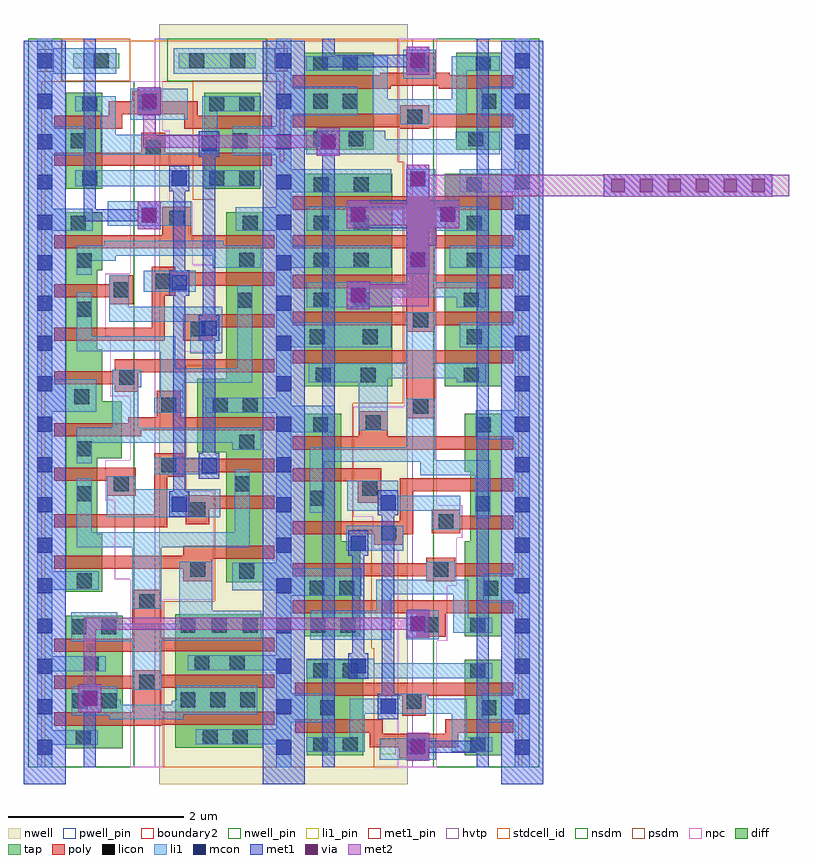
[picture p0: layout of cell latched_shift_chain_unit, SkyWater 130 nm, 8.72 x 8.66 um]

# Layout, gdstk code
from math import pi, radians
import gdstk
lib = gdstk.Library(unit=1e-6, precision=1e-09)
def R(c, l, rs):  # rectangles x0, y0, x1, y1
    for r in rs: c.add(gdstk.rectangle(r[:2], r[2:], *l))
def A(c, l, x, y, w, h, nx, ny, dx, dy):  # array of equal rectangles
    R(c, l, [(x+i*dx, y+j*dy, x+i*dx+w, y+j*dy+h) for i in range(nx) for j in range(ny)])
def P(c, l, *ps):  # polygons
    for p in ps: c.add(gdstk.Polygon(p, *l))
nwell_pin = (64, 16)
nwell = (64, 20)
diff = (65, 20)
tap = (65, 44)
poly = (66, 20)
licon = (66, 44)
li1_pin = (67, 16)
li1 = (67, 20)
mcon = (67, 44)
met1_pin = (68, 16)
met1 = (68, 20)
via = (68, 44)
met2 = (69, 20)
hvtp = (78, 44)
stdcell_id = (81, 4)
nsdm = (93, 44)
psdm = (94, 20)
npc = (95, 20)
pwell_pin = (122, 16)
boundary2 = (236, 0)

sky130_fd_sc_hd__clkbuf_ = lib.new_cell('sky130_fd_sc_hd__clkbuf_1')
R(sky130_fd_sc_hd__clkbuf_, nwell_pin, [(1.065,2.635,1.235,2.805)])
R(sky130_fd_sc_hd__clkbuf_, nwell, [(-0.19,1.305,1.57,2.91)])
R(sky130_fd_sc_hd__clkbuf_, diff, [(0.135,0.235,1.245,0.755), (0.135,1.695,1.245,2.485)])
P(sky130_fd_sc_hd__clkbuf_, poly, [(0.835,0.105),(0.835,0.95),(0.865,0.95),(0.865,1.5),(0.835,1.5),(0.835,2.615),(0.985,2.615),(0.985,1.62),(1.015,1.62),(1.015,1.325),(1.245,1.325),(1.245,0.995),(1.015,0.995),(1.015,0.83),(0.985,0.83),(0.985,0.105)],
  [(0.395,0.105),(0.395,1.06),(0.375,1.06),(0.375,1.39),(0.395,1.39),(0.395,2.615),(0.545,2.615),(0.545,1.39),(0.645,1.39),(0.645,1.06),(0.545,1.06),(0.545,0.105)])
A(sky130_fd_sc_hd__clkbuf_, licon, 0.175, 2.215, 0.17, 0.17, 3, 1, 0.43, 0)
R(sky130_fd_sc_hd__clkbuf_, licon, [(0.605,0.295,0.775,0.465), (1.035,0.36,1.205,0.53), (0.175,0.445,0.345,0.615), (1.025,1.075,1.195,1.245), (0.425,1.14,0.595,1.31), (0.175,1.81,0.345,1.98), (0.605,1.875,0.775,2.045), (1.035,1.875,1.205,2.045)])
R(sky130_fd_sc_hd__clkbuf_, li1_pin, [(0.145,0.425,0.315,0.595), (1.065,1.105,1.235,1.275), (0.145,1.785,0.315,1.955), (0.145,2.125,0.315,2.295)])
R(sky130_fd_sc_hd__clkbuf_, li1, [(0.945,0.985,1.275,1.355)])
P(sky130_fd_sc_hd__clkbuf_, li1, [(0.525,1.875),(0.525,2.635),(0,2.635),(0,2.805),(1.38,2.805),(1.38,2.635),(0.855,2.635),(0.855,1.875)],
  [(1.035,0.255),(1.035,0.635),(0.54,0.635),(0.54,1.06),(0.425,1.06),(0.425,1.39),(0.54,1.39),(0.54,1.705),(1.035,1.705),(1.035,2.465),(1.205,2.465),(1.205,1.535),(0.71,1.535),(0.71,0.805),(1.205,0.805),(1.205,0.255)],
  [(0,-0.085),(0,0.085),(0.525,0.085),(0.525,0.465),(0.855,0.465),(0.855,0.085),(1.38,0.085),(1.38,-0.085)],
  [(0.085,0.255),(0.085,2.465),(0.355,2.465),(0.355,1.56),(0.255,1.56),(0.255,0.76),(0.345,0.76),(0.345,0.255)])
A(sky130_fd_sc_hd__clkbuf_, mcon, 0.145, -0.085, 0.17, 0.17, 3, 2, 0.46, 2.72)
R(sky130_fd_sc_hd__clkbuf_, met1_pin, [(1.065,-0.085,1.235,0.085), (1.065,2.635,1.235,2.805)])
R(sky130_fd_sc_hd__clkbuf_, hvtp, [(0,1.25,1.38,2.72)])
R(sky130_fd_sc_hd__clkbuf_, stdcell_id, [(0,0,1.38,2.72)])
R(sky130_fd_sc_hd__clkbuf_, nsdm, [(0,-0.19,1.38,1.015)])
R(sky130_fd_sc_hd__clkbuf_, psdm, [(0,1.42,1.38,2.91)])
R(sky130_fd_sc_hd__clkbuf_, npc, [(0,0.975,1.38,1.41)])
R(sky130_fd_sc_hd__clkbuf_, pwell_pin, [(1.065,-0.085,1.235,0.085)])
R(sky130_fd_sc_hd__clkbuf_, boundary2, [(0,0,1.38,2.72)])
sky130_fd_sc_hd__clkbuf_.add(gdstk.FlexPath([(1.38,0),(0,0)], 0.48, ends="flush", simple_path=True, layer=68, datatype=20))  # met1
sky130_fd_sc_hd__clkbuf_.add(gdstk.FlexPath([(1.38,2.72),(0,2.72)], 0.48, ends="flush", simple_path=True, layer=68, datatype=20))  # met1
sky130_fd_sc_hd__clkbuf_.add(gdstk.Label('A', (1.15,1.19), layer=67, texttype=5))
sky130_fd_sc_hd__clkbuf_.add(gdstk.Label('X', (0.23,0.51), layer=67, texttype=5))
sky130_fd_sc_hd__clkbuf_.add(gdstk.Label('X', (0.23,1.87), layer=67, texttype=5))
sky130_fd_sc_hd__clkbuf_.add(gdstk.Label('X', (0.23,2.21), layer=67, texttype=5))
sky130_fd_sc_hd__clkbuf_.add(gdstk.Label('VNB', (1.15,0), layer=64, texttype=59))
sky130_fd_sc_hd__clkbuf_.add(gdstk.Label('VPB', (1.15,2.72), layer=64, texttype=5))
sky130_fd_sc_hd__clkbuf_.add(gdstk.Label('VPWR', (1.15,2.72), layer=68, texttype=5))
sky130_fd_sc_hd__clkbuf_.add(gdstk.Label('VGND', (1.15,0), layer=68, texttype=5))
sky130_fd_sc_hd__clkbuf_.add(gdstk.Label('clkbuf_1', (0,0), layer=83, texttype=44))

sky130_fd_sc_hd__tapvpwr = lib.new_cell('sky130_fd_sc_hd__tapvpwrvgnd_1')
R(sky130_fd_sc_hd__tapvpwr, nwell, [(-0.19,1.305,0.65,2.91)])
R(sky130_fd_sc_hd__tapvpwr, tap, [(0.145,0.32,0.315,0.845), (0.145,1.525,0.315,2.4)])
R(sky130_fd_sc_hd__tapvpwr, licon, [(0.145,0.555,0.315,0.725), (0.145,1.645,0.315,1.815), (0.145,2.11,0.315,2.28)])
R(sky130_fd_sc_hd__tapvpwr, li1, [(0,-0.085,0.46,0.085), (0.085,0,0.375,0.81), (0.085,1.47,0.375,2.72), (0,2.635,0.46,2.805)])
R(sky130_fd_sc_hd__tapvpwr, mcon, [(0.145,-0.085,0.315,0.085), (0.145,2.635,0.315,2.805)])
R(sky130_fd_sc_hd__tapvpwr, met1_pin, [(0.105,-0.09,0.36,0.1), (0.11,2.62,0.375,2.765)])
R(sky130_fd_sc_hd__tapvpwr, met1, [(0,-0.24,0.46,0.24), (0,2.48,0.46,2.96)])
R(sky130_fd_sc_hd__tapvpwr, hvtp, [(0,1.25,0.46,2.72)])
R(sky130_fd_sc_hd__tapvpwr, stdcell_id, [(0,0,0.46,2.72)])
R(sky130_fd_sc_hd__tapvpwr, nsdm, [(0,-0.19,0.46,0.19), (0,1.395,0.46,2.53)])
R(sky130_fd_sc_hd__tapvpwr, psdm, [(0,0.19,0.46,0.975), (0,2.53,0.46,2.91)])
sky130_fd_sc_hd__tapvpwr.add(gdstk.Label('VGND', (0.23,0), layer=68, texttype=5))
sky130_fd_sc_hd__tapvpwr.add(gdstk.Label('VPWR', (0.23,2.72), layer=68, texttype=5))
sky130_fd_sc_hd__tapvpwr.add(gdstk.Label('tapvpwrvgnd_1', (0,0), layer=83, texttype=44))

sky130_fd_sc_hd__dfxtp_2 = lib.new_cell('sky130_fd_sc_hd__dfxtp_2$1')
R(sky130_fd_sc_hd__dfxtp_2, nwell_pin, [(6.035,-1.855,6.205,-1.685), (6.035,-1.855,6.205,-1.685)])
R(sky130_fd_sc_hd__dfxtp_2, nwell, [(-1.66,-1.96,6.54,-0.355)])
R(sky130_fd_sc_hd__dfxtp_2, diff, [(-1.245,-1.535,0.275,-0.535), (5.125,-1.505,6.215,-0.865), (-1.255,0.065,0.255,0.715), (5.125,0.295,6.215,0.715)])
P(sky130_fd_sc_hd__dfxtp_2, diff, [(2.05,0.075),(2.05,0.355),(1.19,0.355),(1.19,0.295),(0.53,0.295),(0.53,0.715),(4.855,0.715),(4.855,0.295),(4.195,0.295),(4.195,0.355),(3.295,0.355),(3.295,0.295),(2.7,0.295),(2.7,0.075)],
  [(0.64,-1.535),(0.64,-1.115),(2.12,-1.115),(2.12,-0.785),(2.955,-0.785),(2.955,-1.115),(4.855,-1.115),(4.855,-1.535)])
P(sky130_fd_sc_hd__dfxtp_2, poly, [(-0.985,-1.665),(-0.985,-0.375),(-0.995,-0.375),(-0.995,0.845),(-0.845,0.845),(-0.845,-0.045),(-0.575,-0.045),(-0.575,0.845),(-0.425,0.845),(-0.425,-0.045),(-0.365,-0.045),(-0.365,-0.375),(-0.415,-0.375),(-0.415,-1.665),(-0.565,-1.665),(-0.565,-0.375),(-0.835,-0.375),(-0.835,-1.665)],
  [(5.805,-1.635),(5.805,-0.64),(5.97,-0.64),(5.97,0.07),(5.805,0.07),(5.805,0.845),(5.955,0.845),(5.955,0.22),(6.12,0.22),(6.12,-0.045),(6.24,-0.045),(6.24,-0.375),(6.12,-0.375),(6.12,-0.79),(5.955,-0.79),(5.955,-1.635)],
  [(1.625,-0.085),(1.625,0.245),(1.795,0.245),(1.795,0.845),(1.945,0.845),(1.945,-0.085)],
  [(-0.145,-1.665),(-0.145,-0.375),(-0.155,-0.375),(-0.155,0.845),(-0.005,0.845),(-0.005,-0.045),(0.555,-0.045),(0.555,-0.375),(0.005,-0.375),(0.005,-1.665)],
  [(3.545,-1.665),(3.545,-0.955),(3.39,-0.955),(3.39,-0.625),(3.695,-0.625),(3.695,-1.665)],
  [(5.385,-1.635),(5.385,0.845),(5.535,0.845),(5.535,-0.15),(5.76,-0.15),(5.76,-0.42),(5.535,-0.42),(5.535,-1.635)],
  [(4.445,-1.665),(4.445,0.845),(4.595,0.845),(4.595,-0.385),(4.92,-0.385),(4.92,-0.715),(4.595,-0.715),(4.595,-1.665)],
  [(0.905,-1.665),(0.905,-0.955),(0.65,-0.955),(0.65,-0.625),(0.79,-0.625),(0.79,0.845),(0.94,0.845),(0.94,-0.625),(1.055,-0.625),(1.055,-1.665)],
  [(3.805,-0.055),(3.805,0.215),(3.885,0.215),(3.885,0.845),(4.035,0.845),(4.035,0.215),(4.135,0.215),(4.135,-0.055)],
  [(4.02,-1.665),(4.02,-0.535),(3.905,-0.535),(3.905,-0.415),(3.39,-0.415),(3.39,0.845),(3.54,0.845),(3.54,-0.265),(4.235,-0.265),(4.235,-0.535),(4.17,-0.535),(4.17,-1.665)],
  [(3.03,-1.665),(3.03,-0.115),(2.81,-0.115),(2.81,0.155),(2.895,0.155),(2.895,0.845),(3.045,0.845),(3.045,0.155),(3.18,0.155),(3.18,-1.665)],
  [(2.37,-1.665),(2.37,-0.15),(2.3,-0.15),(2.3,0.845),(2.45,0.845),(2.45,0),(2.52,0),(2.52,-0.325),(2.82,-0.325),(2.82,-0.595),(2.52,-0.595),(2.52,-1.665)],
  [(1.895,-1.665),(1.895,-0.625),(1.84,-0.625),(1.84,-0.445),(1.265,-0.445),(1.265,0.845),(1.415,0.845),(1.415,-0.295),(2.11,-0.295),(2.11,-0.625),(2.045,-0.625),(2.045,-1.665)],
  [(1.475,-1.665),(1.475,-0.925),(1.3,-0.925),(1.3,-0.655),(1.63,-0.655),(1.63,-0.925),(1.625,-0.925),(1.625,-1.665)])
A(sky130_fd_sc_hd__dfxtp_2, licon, 0.065, -1.475, 0.17, 0.17, 1, 3, 0, 0.355)
A(sky130_fd_sc_hd__dfxtp_2, licon, -0.785, -1.445, 0.17, 0.17, 1, 3, 0, 0.34)
R(sky130_fd_sc_hd__dfxtp_2, licon, [(2.57,-1.475,2.74,-1.305), (4.645,-1.475,4.815,-1.305), (0.68,-1.435,0.85,-1.265), (2.15,-1.435,2.32,-1.265), (4.225,-1.435,4.395,-1.265), (5.165,-1.435,5.335,-1.265), (6.005,-1.435,6.175,-1.265), (3.765,-1.41,3.935,-1.24), (1.675,-1.385,1.845,-1.215), (-1.205,-1.36,-1.035,-1.19), (5.585,-1.355,5.755,-1.185), (-0.365,-1.325,-0.195,-1.155), (2.57,-1.135,2.74,-0.965), (5.165,-1.095,5.335,-0.925), (6.005,-1.095,6.175,-0.925), (-1.205,-1.02,-1.035,-0.85), (-0.365,-0.925,-0.195,-0.755), (0.7,-0.875,0.87,-0.705), (1.38,-0.875,1.55,-0.705), (3.44,-0.875,3.61,-0.705), (4.7,-0.635,4.87,-0.465), (1.89,-0.545,2.06,-0.375), (2.57,-0.545,2.74,-0.375), (3.985,-0.485,4.155,-0.315), (5.51,-0.37,5.68,-0.2), (-0.585,-0.295,-0.415,-0.125), (0.335,-0.295,0.505,-0.125), (6.02,-0.295,6.19,-0.125), (2.89,-0.065,3.06,0.105), (1.675,-0.005,1.845,0.165), (3.885,-0.005,4.055,0.165), (-0.795,0.13,-0.625,0.3), (0.045,0.14,0.215,0.31), (-0.375,0.335,-0.205,0.505), (5.165,0.355,5.335,0.525), (6.005,0.355,6.175,0.525), (0.57,0.415,0.74,0.585), (1.56,0.415,1.73,0.585), (2.075,0.415,2.245,0.585), (3.665,0.415,3.835,0.585), (4.22,0.415,4.39,0.585), (-1.215,0.43,-1.045,0.6), (2.67,0.445,2.84,0.615), (-0.795,0.47,-0.625,0.64), (0.045,0.48,0.215,0.65), (4.645,0.485,4.815,0.655), (5.585,0.485,5.755,0.655)])
R(sky130_fd_sc_hd__dfxtp_2, li1_pin, [(4.735,-0.325,4.905,-0.155), (6.035,-0.325,6.205,-0.155), (-0.77,0.355,-0.6,0.525)])
R(sky130_fd_sc_hd__dfxtp_2, li1, [(5.15,-1.515,5.335,0.605), (1.87,-1.015,2.06,-0.295), (3.95,-0.77,4.19,-0.175), (4.7,-0.715,4.98,0.235), (5.91,-0.675,6.26,-0.025)])
P(sky130_fd_sc_hd__dfxtp_2, li1, [(-0.375,0.255),(-0.375,0.865),(-1.045,0.865),(-1.045,0.35),(-1.215,0.35),(-1.215,0.865),(-1.47,0.865),(-1.47,1.035),(6.35,1.035),(6.35,0.865),(5.835,0.865),(5.835,0.485),(5.505,0.485),(5.505,0.865),(4.895,0.865),(4.895,0.405),(4.645,0.405),(4.645,0.865),(2.95,0.865),(2.95,0.365),(2.58,0.365),(2.58,0.865),(0.765,0.865),(0.765,0.335),(0.555,0.335),(0.555,0.865),(-0.205,0.865),(-0.205,0.255)],
  [(-1.47,-1.855),(-1.47,-1.685),(-1.205,-1.685),(-1.205,-0.77),(-1.035,-0.77),(-1.035,-1.685),(-0.365,-1.685),(-0.365,-0.675),(-0.195,-0.675),(-0.195,-1.685),(0.545,-1.685),(0.545,-1.185),(0.86,-1.185),(0.86,-1.685),(2.57,-1.685),(2.57,-0.885),(2.74,-0.885),(2.74,-1.685),(4.645,-1.685),(4.645,-1.225),(4.91,-1.225),(4.91,-1.685),(5.505,-1.685),(5.505,-1.185),(5.835,-1.185),(5.835,-1.685),(6.35,-1.685),(6.35,-1.855)],
  [(-0.025,-1.515),(-0.025,-0.375),(-0.585,-0.375),(-0.585,-0.045),(-0.035,-0.045),(-0.035,0.65),(0.295,0.65),(0.295,0.125),(0.165,0.125),(0.165,-0.58),(0.87,-0.58),(0.87,-0.955),(0.315,-0.955),(0.315,-1.515)],
  [(-0.865,-1.47),(-0.865,-0.625),(-0.925,-0.625),(-0.925,0.21),(-0.875,0.21),(-0.875,0.645),(-0.545,0.645),(-0.545,0.125),(-0.7,0.125),(-0.7,0.085),(-0.755,0.085),(-0.755,-0.495),(-0.71,-0.495),(-0.71,-0.545),(-0.535,-0.545),(-0.535,-1.47)],
  [(1.04,-1.385),(1.04,-0.375),(0.335,-0.375),(0.335,-0.045),(1.04,-0.045),(1.04,0.585),(1.825,0.585),(1.825,0.415),(1.21,0.415),(1.21,-1.215),(1.925,-1.215),(1.925,-1.385)],
  [(1.38,-1.045),(1.38,0.245),(1.845,0.245),(1.845,-0.085),(1.7,-0.085),(1.7,-1.045)],
  [(3.25,-1.07),(3.25,-0.705),(3.61,-0.705),(3.61,0.215),(4.135,0.215),(4.135,-0.005),(3.78,-0.005),(3.78,-1.07)],
  [(4.225,-1.515),(4.225,-0.96),(4.36,-0.96),(4.36,0.145),(4.305,0.145),(4.305,0.415),(4.14,0.415),(4.14,0.585),(4.475,0.585),(4.475,0.275),(4.53,0.275),(4.53,-1.09),(4.475,-1.09),(4.475,-1.515)],
  [(2.15,-1.515),(2.15,-1.185),(2.23,-1.185),(2.23,0.415),(1.995,0.415),(1.995,0.585),(2.4,0.585),(2.4,0.185),(3.06,0.185),(3.06,-0.145),(2.86,-0.145),(2.86,-0.115),(2.4,-0.115),(2.4,-1.515)],
  [(2.91,-1.41),(2.91,-0.625),(2.57,-0.625),(2.57,-0.295),(2.74,-0.295),(2.74,-0.365),(3.27,-0.365),(3.27,0.585),(3.945,0.585),(3.945,0.415),(3.44,0.415),(3.44,-0.535),(3.08,-0.535),(3.08,-1.24),(4.015,-1.24),(4.015,-1.41)],
  [(6.005,-1.515),(6.005,-1.015),(5.51,-1.015),(5.51,0.315),(6.005,0.315),(6.005,0.605),(6.175,0.605),(6.175,0.145),(5.74,0.145),(5.74,-0.845),(6.175,-0.845),(6.175,-1.515)])
A(sky130_fd_sc_hd__dfxtp_2, mcon, -1.325, -1.855, 0.17, 0.17, 17, 2, 0.46, 2.72)
R(sky130_fd_sc_hd__dfxtp_2, mcon, [(1.88,-1.005,2.05,-0.835), (3.45,-1.005,3.62,-0.835), (5.55,-1.005,5.72,-0.835), (1.445,-0.665,1.615,-0.495), (3.965,-0.665,4.135,-0.495), (5.155,-0.665,5.325,-0.495)])
R(sky130_fd_sc_hd__dfxtp_2, met1_pin, [(6.035,-1.855,6.205,-1.685), (6.035,0.865,6.205,1.035)])
R(sky130_fd_sc_hd__dfxtp_2, met1, [(-1.47,-2.01,6.35,-1.53), (-1.47,0.71,6.35,1.19)])
P(sky130_fd_sc_hd__dfxtp_2, met1, [(1.82,-1.035),(1.82,-0.805),(2.11,-0.805),(2.11,-0.85),(3.39,-0.85),(3.39,-0.805),(3.68,-0.805),(3.68,-0.85),(5.49,-0.85),(5.49,-0.805),(5.78,-0.805),(5.78,-1.035),(5.49,-1.035),(5.49,-0.99),(3.68,-0.99),(3.68,-1.035),(3.39,-1.035),(3.39,-0.99),(2.11,-0.99),(2.11,-1.035)],
  [(1.385,-0.695),(1.385,-0.465),(1.675,-0.465),(1.675,-0.51),(3.905,-0.51),(3.905,-0.465),(4.195,-0.465),(4.195,-0.51),(5.095,-0.51),(5.095,-0.465),(5.385,-0.465),(5.385,-0.695),(5.095,-0.695),(5.095,-0.65),(4.195,-0.65),(4.195,-0.695),(3.905,-0.695),(3.905,-0.65),(1.675,-0.65),(1.675,-0.695)])
R(sky130_fd_sc_hd__dfxtp_2, hvtp, [(-1.47,-1.77,6.35,-0.3)])
R(sky130_fd_sc_hd__dfxtp_2, stdcell_id, [(-1.47,-1.77,6.35,0.95)])
R(sky130_fd_sc_hd__dfxtp_2, nsdm, [(-1.47,-0.065,6.35,1.14)])
P(sky130_fd_sc_hd__dfxtp_2, psdm, [(-1.47,-1.96),(-1.47,-0.405),(0.42,-0.405),(0.42,-0.985),(1.685,-0.985),(1.685,-0.655),(3.11,-0.655),(3.11,-0.985),(5,-0.985),(5,-0.735),(6.35,-0.735),(6.35,-1.96)])
P(sky130_fd_sc_hd__dfxtp_2, npc, [(0.44,-0.975),(0.44,-0.395),(-1.47,-0.395),(-1.47,-0.025),(0.675,-0.025),(0.675,0.155),(1.575,0.155),(1.575,0.265),(2.03,0.265),(2.03,-0.025),(2.76,-0.025),(2.76,0.205),(3.445,0.205),(3.445,0.265),(4.155,0.265),(4.155,-0.025),(6.35,-0.025),(6.35,-0.395),(5.785,-0.395),(5.785,-0.47),(4.97,-0.47),(4.97,-0.735),(4.255,-0.735),(4.255,-0.975),(3.265,-0.975),(3.265,-0.645),(1.675,-0.645),(1.675,-0.975)])
R(sky130_fd_sc_hd__dfxtp_2, pwell_pin, [(6.035,0.865,6.205,1.035), (6.035,0.865,6.205,1.035)])
R(sky130_fd_sc_hd__dfxtp_2, boundary2, [(-1.47,-1.73,6.35,0.99)])
sky130_fd_sc_hd__dfxtp_2.add(gdstk.Label('D', (4.815,-0.24), layer=67, texttype=5))
sky130_fd_sc_hd__dfxtp_2.add(gdstk.Label('CLK', (6.12,-0.24), layer=67, texttype=5))
sky130_fd_sc_hd__dfxtp_2.add(gdstk.Label('Q', (-0.685,0.44), layer=67, texttype=5))
sky130_fd_sc_hd__dfxtp_2.add(gdstk.Label('VNB', (6.12,0.95), layer=64, texttype=59))
sky130_fd_sc_hd__dfxtp_2.add(gdstk.Label('VNB', (6.12,0.95), layer=64, texttype=59))
sky130_fd_sc_hd__dfxtp_2.add(gdstk.Label('VPB', (6.12,-1.77), layer=64, texttype=5))
sky130_fd_sc_hd__dfxtp_2.add(gdstk.Label('VPB', (6.12,-1.77), layer=64, texttype=5))
sky130_fd_sc_hd__dfxtp_2.add(gdstk.Label('VGND', (6.12,0.95), layer=68, texttype=5))
sky130_fd_sc_hd__dfxtp_2.add(gdstk.Label('VPWR', (6.12,-1.77), layer=68, texttype=5))
sky130_fd_sc_hd__dfxtp_2.add(gdstk.Label('dfxtp_2', (8.86,0.99), layer=83, texttype=44))

sky130_fd_sc_hd__dlxtn_4 = lib.new_cell('sky130_fd_sc_hd__dlxtn_4$1')
R(sky130_fd_sc_hd__dlxtn_4, nwell_pin, [(-1.455,2.58,-1.285,2.75)])
R(sky130_fd_sc_hd__dlxtn_4, nwell, [(-1.79,1.25,5.49,2.855)])
R(sky130_fd_sc_hd__dlxtn_4, diff, [(-1.465,0.18,-0.375,0.6), (2.745,0.18,5.165,0.83), (2.745,1.43,5.165,2.43), (-1.465,1.76,-0.375,2.4)])
P(sky130_fd_sc_hd__dlxtn_4, diff, [(-0.105,0.18),(-0.105,0.6),(0.975,0.6),(0.975,0.54),(1.77,0.54),(1.77,0.6),(2.43,0.6),(2.43,0.18)],
  [(-0.105,1.79),(-0.105,2.43),(2.43,2.43),(2.43,2.01),(0.975,2.01),(0.975,1.79)])
P(sky130_fd_sc_hd__dlxtn_4, poly, [(3.005,0.05),(3.005,0.94),(2.38,0.94),(2.38,1.27),(3.005,1.27),(3.005,2.56),(3.155,2.56),(3.155,0.05)],
  [(2.02,0.05),(2.02,2.56),(2.17,2.56),(2.17,1.81),(2.46,1.81),(2.46,1.48),(2.17,1.48),(2.17,0.05)],
  [(1.115,0.05),(1.115,0.65),(1.065,0.65),(1.065,0.98),(1.335,0.98),(1.335,0.65),(1.265,0.65),(1.265,0.05)],
  [(0.575,0.05),(0.575,0.71),(0.52,0.71),(0.52,1.04),(0.575,1.04),(0.575,2.56),(0.725,2.56),(0.725,1.04),(0.79,1.04),(0.79,0.71),(0.725,0.71),(0.725,0.05)],
  [(1.545,0.05),(1.545,1.19),(1.055,1.19),(1.055,1.3),(0.935,1.3),(0.935,1.63),(1.055,1.63),(1.055,2.56),(1.205,2.56),(1.205,1.34),(1.695,1.34),(1.695,0.05)],
  [(0.155,0.05),(0.155,0.82),(-0.11,0.82),(-0.11,1.15),(0.155,1.15),(0.155,2.56),(0.305,2.56),(0.305,0.05)],
  [(3.44,0.05),(3.44,0.94),(3.365,0.94),(3.365,1.27),(3.44,1.27),(3.44,2.56),(3.59,2.56),(3.59,1.27),(3.86,1.27),(3.86,2.56),(4.01,2.56),(4.01,1.27),(4.315,1.27),(4.315,2.56),(4.465,2.56),(4.465,1.27),(4.755,1.27),(4.755,2.56),(4.905,2.56),(4.905,0.05),(4.755,0.05),(4.755,0.94),(4.465,0.94),(4.465,0.05),(4.315,0.05),(4.315,0.94),(4.01,0.94),(4.01,0.05),(3.86,0.05),(3.86,0.94),(3.59,0.94),(3.59,0.05)],
  [(1.415,1.55),(1.415,1.82),(1.66,1.82),(1.66,2.56),(1.81,2.56),(1.81,1.55)],
  [(-0.785,0.05),(-0.785,1.045),(-1.01,1.045),(-1.01,1.315),(-0.785,1.315),(-0.785,2.53),(-0.635,2.53),(-0.635,0.05)],
  [(-1.205,0.05),(-1.205,0.675),(-1.37,0.675),(-1.37,1.015),(-1.495,1.015),(-1.495,1.345),(-1.37,1.345),(-1.37,1.685),(-1.205,1.685),(-1.205,2.53),(-1.055,2.53),(-1.055,1.535),(-1.22,1.535),(-1.22,0.825),(-1.055,0.825),(-1.055,0.05)])
R(sky130_fd_sc_hd__dlxtn_4, licon, [(0.355,0.22,0.525,0.39), (-1.005,0.24,-0.835,0.41), (2.22,0.305,2.39,0.475), (1.32,0.31,1.49,0.48), (-1.425,0.37,-1.255,0.54), (-0.585,0.37,-0.415,0.54), (-0.065,0.37,0.105,0.54), (3.22,0.41,3.39,0.58), (4.095,0.41,4.265,0.58), (4.515,0.41,4.685,0.58), (4.955,0.41,5.125,0.58), (2.785,0.44,2.955,0.61), (3.64,0.44,3.81,0.61), (1.115,0.73,1.285,0.9), (0.57,0.79,0.74,0.96), (-0.06,0.9,0.11,1.07), (2.43,1.02,2.6,1.19), (3.415,1.02,3.585,1.19), (-1.44,1.095,-1.27,1.265), (-0.93,1.095,-0.76,1.265), (0.985,1.38,1.155,1.55), (2.24,1.56,2.41,1.73), (3.22,1.595,3.39,1.765), (1.495,1.6,1.665,1.77), (2.785,1.615,2.955,1.785), (3.64,1.695,3.81,1.865), (4.095,1.695,4.265,1.865), (4.515,1.695,4.685,1.865), (4.955,1.695,5.125,1.865), (-1.425,1.82,-1.255,1.99), (-0.585,1.82,-0.415,1.99), (-0.065,1.85,0.105,2.02), (0.355,1.86,0.525,2.03), (-1.005,2.08,-0.835,2.25), (2.785,2.13,2.955,2.3), (3.64,2.15,3.81,2.32), (4.095,2.15,4.265,2.32), (4.515,2.15,4.685,2.32), (4.955,2.15,5.125,2.32), (-1.425,2.16,-1.255,2.33), (-0.585,2.16,-0.415,2.33), (2.22,2.16,2.39,2.33), (-0.065,2.19,0.105,2.36), (3.22,2.195,3.39,2.365), (0.355,2.2,0.525,2.37), (1.38,2.2,1.55,2.37)])
A(sky130_fd_sc_hd__dlxtn_4, li1_pin, 4.1, 1.05, 0.17, 0.17, 3, 1, 0.46, 0)
R(sky130_fd_sc_hd__dlxtn_4, li1_pin, [(3.695,0.37,3.865,0.54), (4.615,0.37,4.785,0.54), (4.615,0.71,4.785,0.88), (-1.45,1.05,-1.28,1.22), (-0.05,1.05,0.12,1.22), (-1.45,1.39,-1.28,1.56), (3.695,1.73,3.865,1.9), (4.615,1.73,4.785,1.9), (3.695,2.07,3.865,2.24), (4.615,2.07,4.785,2.24)])
R(sky130_fd_sc_hd__dlxtn_4, li1, [(-0.14,0.9,0.19,1.27), (-1.515,0.93,-1.27,1.57), (0.87,1.3,1.155,1.95)])
P(sky130_fd_sc_hd__dlxtn_4, li1, [(3.185,1.44),(3.185,2.58),(2.52,2.58),(2.52,2.08),(2.22,2.08),(2.22,2.58),(0.67,2.58),(0.67,1.78),(0.355,1.78),(0.355,2.58),(-0.755,2.58),(-0.755,2.08),(-1.085,2.08),(-1.085,2.58),(-1.6,2.58),(-1.6,2.75),(5.3,2.75),(5.3,2.58),(5.215,2.58),(5.215,1.44),(4.955,1.44),(4.955,2.58),(4.345,2.58),(4.345,1.44),(4.095,1.44),(4.095,2.58),(3.47,2.58),(3.47,1.44)],
  [(4.515,0.33),(4.515,0.94),(3.925,0.94),(3.925,0.36),(3.64,0.36),(3.64,0.69),(3.755,0.69),(3.755,1.44),(3.64,1.44),(3.64,2.4),(3.925,2.4),(3.925,1.27),(4.515,1.27),(4.515,2.4),(4.785,2.4),(4.785,1.27),(5.215,1.27),(5.215,0.94),(4.785,0.94),(4.785,0.33)],
  [(2.785,0.36),(2.785,0.69),(2.835,0.69),(2.835,1.48),(2.24,1.48),(2.24,1.81),(2.785,1.81),(2.785,2.38),(3.005,2.38),(3.005,1.27),(3.585,1.27),(3.585,0.94),(3.005,0.94),(3.005,0.36)],
  [(-1.6,-0.14),(-1.6,0.03),(-1.085,0.03),(-1.085,0.41),(-0.755,0.41),(-0.755,0.03),(0.275,0.03),(0.275,0.39),(0.605,0.39),(0.605,0.03),(2.14,0.03),(2.14,0.475),(2.47,0.475),(2.47,0.03),(3.185,0.03),(3.185,0.66),(3.47,0.66),(3.47,0.03),(4.095,0.03),(4.095,0.77),(4.345,0.77),(4.345,0.03),(4.955,0.03),(4.955,0.66),(5.215,0.66),(5.215,0.03),(5.3,0.03),(5.3,-0.14)],
  [(1.115,0.65),(1.115,0.98),(1.325,0.98),(1.325,1.94),(1.665,1.94),(1.665,1.36),(1.495,1.36),(1.495,0.65)],
  [(-0.065,0.29),(-0.065,0.73),(0.37,0.73),(0.37,1.44),(-0.145,1.44),(-0.145,2.36),(0.185,2.36),(0.185,1.61),(0.54,1.61),(0.54,1.04),(0.74,1.04),(0.74,0.71),(0.54,0.71),(0.54,0.56),(0.105,0.56),(0.105,0.29)],
  [(-0.585,0.29),(-0.585,2.41),(-0.36,2.41),(-0.36,1.63),(-0.415,1.63),(-0.415,0.29)],
  [(1.24,0.31),(1.24,0.48),(1.73,0.48),(1.73,1.11),(1.88,1.11),(1.88,2.2),(1.3,2.2),(1.3,2.37),(2.05,2.37),(2.05,1.27),(2.6,1.27),(2.6,0.94),(1.9,0.94),(1.9,0.31)],
  [(-1.425,0.29),(-1.425,0.75),(-0.99,0.75),(-0.99,1.74),(-1.425,1.74),(-1.425,2.41),(-1.255,2.41),(-1.255,1.91),(-0.82,1.91),(-0.82,1.345),(-0.76,1.345),(-0.76,1.015),(-0.82,1.015),(-0.82,0.58),(-1.255,0.58),(-1.255,0.29)])
A(sky130_fd_sc_hd__dlxtn_4, mcon, -1.455, -0.14, 0.17, 0.17, 15, 2, 0.46, 2.72)
R(sky130_fd_sc_hd__dlxtn_4, mcon, [(-0.99,1.39,-0.82,1.56), (1.33,1.39,1.5,1.56), (-0.53,1.73,-0.36,1.9), (0.87,1.73,1.04,1.9)])
R(sky130_fd_sc_hd__dlxtn_4, met1_pin, [(-1.455,-0.14,-1.285,0.03), (-1.455,2.58,-1.285,2.75)])
P(sky130_fd_sc_hd__dlxtn_4, met1, [(-1.05,1.36),(-1.05,1.59),(-0.76,1.59),(-0.76,1.545),(1.27,1.545),(1.27,1.59),(1.56,1.59),(1.56,1.36),(1.27,1.36),(1.27,1.405),(-0.76,1.405),(-0.76,1.36)],
  [(-0.59,1.7),(-0.59,1.93),(-0.3,1.93),(-0.3,1.885),(0.81,1.885),(0.81,1.93),(1.1,1.93),(1.1,1.7),(0.81,1.7),(0.81,1.745),(-0.3,1.745),(-0.3,1.7)])
R(sky130_fd_sc_hd__dlxtn_4, hvtp, [(-1.6,1.195,5.3,2.665)])
R(sky130_fd_sc_hd__dlxtn_4, stdcell_id, [(-1.6,-0.055,5.3,2.665)])
R(sky130_fd_sc_hd__dlxtn_4, nsdm, [(-1.6,-0.245,5.3,0.96)])
P(sky130_fd_sc_hd__dlxtn_4, psdm, [(2.55,1.3),(2.55,1.88),(1.105,1.88),(1.105,1.66),(-0.245,1.66),(-0.245,1.63),(-1.6,1.63),(-1.6,2.855),(5.3,2.855),(5.3,1.3)])
P(sky130_fd_sc_hd__dlxtn_4, npc, [(1.015,0.63),(1.015,0.69),(0.47,0.69),(0.47,0.8),(-0.16,0.8),(-0.16,0.92),(-1.6,0.92),(-1.6,1.365),(0.885,1.365),(0.885,1.65),(1.255,1.65),(1.255,1.87),(2.51,1.87),(2.51,1.29),(5.3,1.29),(5.3,0.92),(1.385,0.92),(1.385,0.63)])
R(sky130_fd_sc_hd__dlxtn_4, pwell_pin, [(-1.455,-0.14,-1.285,0.03)])
R(sky130_fd_sc_hd__dlxtn_4, boundary2, [(-1.6,-0.015,5.3,2.705)])
sky130_fd_sc_hd__dlxtn_4.add(gdstk.FlexPath([(-1.6,-0.055),(5.3,-0.055)], 0.48, ends="flush", simple_path=True, layer=68, datatype=20))  # met1
sky130_fd_sc_hd__dlxtn_4.add(gdstk.FlexPath([(-1.6,2.665),(5.3,2.665)], 0.48, ends="flush", simple_path=True, layer=68, datatype=20))  # met1
sky130_fd_sc_hd__dlxtn_4.add(gdstk.Label('D', (0.035,1.135), layer=67, texttype=5))
sky130_fd_sc_hd__dlxtn_4.add(gdstk.Label('GATE_N', (-1.37,1.135), layer=67, texttype=5))
sky130_fd_sc_hd__dlxtn_4.add(gdstk.Label('GATE_N', (-1.37,1.475), layer=67, texttype=5))
sky130_fd_sc_hd__dlxtn_4.add(gdstk.Label('Q', (3.78,0.455), layer=67, texttype=5))
sky130_fd_sc_hd__dlxtn_4.add(gdstk.Label('Q', (4.7,0.455), layer=67, texttype=5))
sky130_fd_sc_hd__dlxtn_4.add(gdstk.Label('Q', (4.7,0.795), layer=67, texttype=5))
sky130_fd_sc_hd__dlxtn_4.add(gdstk.Label('Q', (4.185,1.135), layer=67, texttype=5))
sky130_fd_sc_hd__dlxtn_4.add(gdstk.Label('Q', (4.645,1.135), layer=67, texttype=5))
sky130_fd_sc_hd__dlxtn_4.add(gdstk.Label('Q', (5.105,1.135), layer=67, texttype=5))
sky130_fd_sc_hd__dlxtn_4.add(gdstk.Label('Q', (3.78,1.815), layer=67, texttype=5))
sky130_fd_sc_hd__dlxtn_4.add(gdstk.Label('Q', (4.7,1.815), layer=67, texttype=5))
sky130_fd_sc_hd__dlxtn_4.add(gdstk.Label('Q', (3.78,2.155), layer=67, texttype=5))
sky130_fd_sc_hd__dlxtn_4.add(gdstk.Label('Q', (4.7,2.155), layer=67, texttype=5))
sky130_fd_sc_hd__dlxtn_4.add(gdstk.Label('VNB', (-1.37,-0.055), layer=64, texttype=59))
sky130_fd_sc_hd__dlxtn_4.add(gdstk.Label('VPB', (-1.37,2.665), layer=64, texttype=5))
sky130_fd_sc_hd__dlxtn_4.add(gdstk.Label('VPWR', (-1.365,2.665), layer=68, texttype=5))
sky130_fd_sc_hd__dlxtn_4.add(gdstk.Label('VGND', (-1.37,-0.055), layer=68, texttype=5))
sky130_fd_sc_hd__dlxtn_4.add(gdstk.Label('dlxtn_4', (-0.01,-0.015), layer=83, texttype=44))

latched_shift_chain_unit = lib.new_cell('latched_shift_chain_unit')
R(latched_shift_chain_unit, nwell, [(-1.43,4.025,-0.205,5.045), (-3.035,4.945,-1.43,5.045)])
A(latched_shift_chain_unit, li1, -4.425, 5.215, 0.17, 0.02, 3, 1, 2.72, 0)
R(latched_shift_chain_unit, mcon, [(-0.175,-2.915,-0.005,-2.745), (-3.915,-2.365,-3.745,-2.195), (-0.175,-1.515,-0.005,-1.345), (-0.855,2.23,-0.685,2.4), (-0.175,2.635,-0.005,2.805), (-3.235,3.14,-3.065,3.31), (-0.855,3.15,-0.685,3.32), (0.165,3.15,0.335,3.32), (-0.175,3.555,-0.005,3.725), (-1.195,3.98,-1.025,4.15), (-3.235,4.44,-3.065,4.61), (-0.175,4.9,-0.005,5.07)])
A(latched_shift_chain_unit, met1, -4.58, -3.255, 0.48, 0.19, 3, 1, 2.72, 0)
A(latched_shift_chain_unit, met1, 2.03, 3.435, 0.32, 0.26, 6, 1, 0.32, 0)
R(latched_shift_chain_unit, met1, [(-0.22,-2.99,0.04,-2.67), (-3.96,-2.44,-3.7,-2.12), (-0.22,-1.59,0.04,-1.27), (-0.9,2.155,-0.64,2.475), (-0.22,2.56,0.04,2.88), (-0.22,2.88,0.04,3.48), (-3.28,3.065,-3.02,3.385), (-0.9,3.075,-0.64,3.395), (-0.64,3.075,0.12,3.395), (0.12,3.075,0.38,3.395), (-0.22,3.48,0.04,3.8), (0.86,3.835,1.34,5.045), (-1.24,3.905,-0.98,4.225), (-3.28,4.365,-3.02,4.685), (-4.58,4.755,-4.1,5.045), (-1.86,4.755,-1.38,5.045), (-0.22,4.825,0.04,5.145)])
A(latched_shift_chain_unit, via, 2.115, 3.49, 0.15, 0.15, 6, 1, 0.32, 0)
R(latched_shift_chain_unit, via, [(-0.165,-2.905,-0.015,-2.755), (-3.905,-2.355,-3.755,-2.205), (-0.165,-1.505,-0.015,-1.355), (-0.845,2.24,-0.695,2.39), (-0.165,2.645,-0.015,2.795), (-3.225,3.15,-3.075,3.3), (-0.845,3.16,-0.695,3.31), (0.175,3.16,0.325,3.31), (-0.165,3.565,-0.015,3.715), (-1.185,3.99,-1.035,4.14), (-3.225,4.45,-3.075,4.6), (-0.165,4.91,-0.015,5.06)])
A(latched_shift_chain_unit, met2, 2.03, 3.435, 0.32, 0.26, 6, 1, 0.32, 0)
R(latched_shift_chain_unit, met2, [(-0.22,-2.99,0.04,-2.67), (-3.96,-2.44,-3.7,-2.12), (-0.22,-1.59,0.04,-1.27), (-0.9,2.155,-0.64,2.475), (-0.22,2.44,-0.215,2.56), (-0.22,2.56,0.04,2.88), (-0.22,2.88,-0.215,3.11), (0.035,2.88,0.12,3.075), (-3.28,3.065,-3.02,3.385), (-0.9,3.075,-0.64,3.395), (0.035,3.075,0.12,3.11), (0.12,3.075,0.38,3.395), (-0.22,3.36,-0.215,3.48), (0.035,3.36,0.25,3.44), (0.25,3.395,0.38,3.44), (-0.22,3.48,0.04,3.8), (-1.24,3.905,-0.98,4.225), (-3.28,4.365,-3.02,4.685), (-0.22,4.825,0.04,5.145)])
R(latched_shift_chain_unit, hvtp, [(-3.09,5.215,-1.62,5.235), (-1.62,5.215,-0.15,5.235)])
R(latched_shift_chain_unit, nsdm, [(-4.53,5.215,-4.15,5.235), (-2.945,5.215,-1.81,5.235), (0.085,5.215,1.29,5.235)])
R(latched_shift_chain_unit, psdm, [(-4.15,5.215,-3.365,5.235), (-1.81,5.215,-1.43,5.235), (-1.43,5.215,-0.32,5.235)])
R(latched_shift_chain_unit, npc, [(-0.31,5.215,0.125,5.235)])
latched_shift_chain_unit.add(gdstk.FlexPath([(-1.11,4.065),(-1.11,-3.065)], 0.14, ends="flush", simple_path=True, layer=68, datatype=20))  # met1
latched_shift_chain_unit.add(gdstk.FlexPath([(-3.83,5.235),(-3.83,3.225),(-3.15,3.225)], 0.14, ends="flush", simple_path=True, layer=68, datatype=20))  # met1
latched_shift_chain_unit.add(gdstk.FlexPath([(0.65,-2.83),(0.65,5.235)], 0.14, ends="flush", simple_path=True, layer=68, datatype=20))  # met1
latched_shift_chain_unit.add(gdstk.FlexPath([(-0.09,4.985),(-1.11,4.985),(-1.11,5.235),(-1.11,5.235)], 0.14, ends="flush", simple_path=True, layer=68, datatype=20))  # met1
latched_shift_chain_unit.add(gdstk.FlexPath([(-0.09,-2.83),(0.65,-2.83),(0.65,-3.065),(0.65,-3.065),(0.65,-3.065)], 0.14, ends="flush", simple_path=True, layer=68, datatype=20))  # met1
latched_shift_chain_unit.add(gdstk.FlexPath([(-3.83,-2.28),(-3.83,-3.065),(-3.83,-3.065)], 0.14, ends="flush", simple_path=True, layer=68, datatype=20))  # met1
latched_shift_chain_unit.add(gdstk.FlexPath([(1.34,3.565),(-0.09,3.565),(-0.09,2.315),(-0.77,2.315),(-0.77,2.315)], 0.25, ends="flush", simple_path=True, layer=69, datatype=20))  # met2
latched_shift_chain_unit.add(gdstk.FlexPath([(-0.77,3.235),(0.25,3.235),(0.25,3.235),(0.25,3.235)], 0.25, ends="flush", simple_path=True, layer=69, datatype=20))  # met2
latched_shift_chain_unit.add(gdstk.FlexPath([(1.34,3.565),(4.14,3.565),(4.14,3.565)], 0.25, ends="flush", simple_path=True, layer=69, datatype=20))  # met2
latched_shift_chain_unit.add(gdstk.FlexPath([(-1.11,4.065),(-3.15,4.065),(-3.15,4.525)], 0.14, ends="flush", simple_path=True, layer=69, datatype=20))  # met2
latched_shift_chain_unit.add(gdstk.FlexPath([(-0.09,-1.43),(-3.83,-1.43),(-3.83,-2.28)], 0.14, ends="flush", simple_path=True, layer=69, datatype=20))  # met2
latched_shift_chain_unit.add(gdstk.Reference(sky130_fd_sc_hd__clkbuf_, (1.1,3.835), rotation=pi/2))
latched_shift_chain_unit.add(gdstk.Reference(sky130_fd_sc_hd__tapvpwr, (-4.34,4.755), rotation=pi/2, x_reflection=True))
latched_shift_chain_unit.add(gdstk.Reference(sky130_fd_sc_hd__dfxtp_2, (-3.39,-1.595), rotation=pi/2))
latched_shift_chain_unit.add(gdstk.Reference(sky130_fd_sc_hd__dlxtn_4, (1.045,-1.465), rotation=pi/2))

lib.write_gds('latched_shift_chain_unit.gds')
